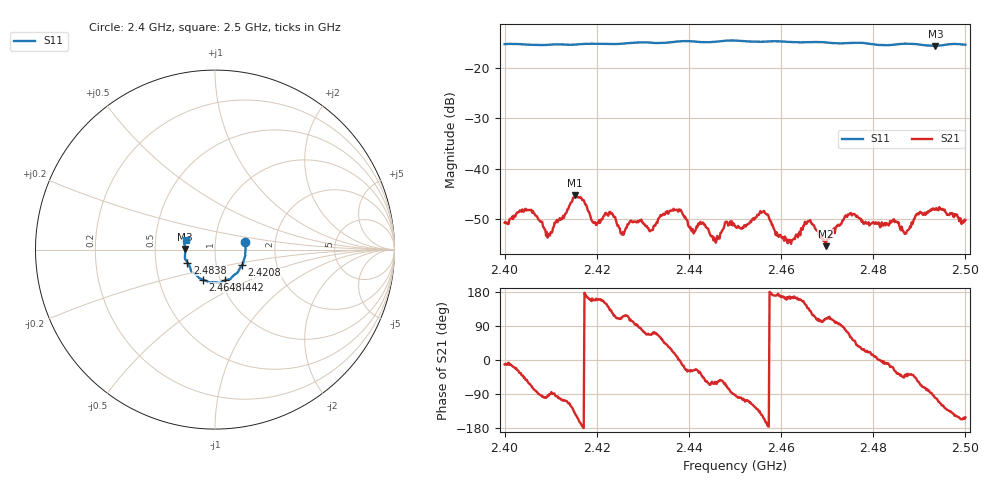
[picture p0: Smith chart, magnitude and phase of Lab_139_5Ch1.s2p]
# Hz S RI R 50
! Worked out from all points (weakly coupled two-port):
!   601 points, 2.4 GHz to 2.5 GHz, reference 50 ohm
!   highest |S21| = -45.31 dB at 2.4153 GHz (marker M1); lowest = -55.4 dB at 2.4697 GHz (marker M2)
!   lowest |S11| = -15.6 dB at 2.4935 GHz (marker M3), VSWR 1.40, Z = 35.8 + j0.223 ohm
!   |S11| at or under -10 dB: start of sweep to end of sweep
!   S12 and S22 are empty: the file has one direction only
!   S11 on the Smith chart (normalised r, x): 2.4 GHz: 1.40, +0.12; 2.4208 GHz: 1.33, -0.24; 2.4442 GHz: 1.05, -0.37; 2.4648 GHz: 0.83, -0.29; 2.4838 GHz: 0.73, -0.11; 2.5 GHz: 0.72, +0.08
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2.4e9  0.1676 0.0411  0.00284 -0.000581  0 0  0 0
2.405333e9  0.1705 0.0059  0.00178 -0.00344  0 0  0 0
2.409833e9  0.1687 -0.0267  -1.81e-05 -0.00216  0 0  0 0
2.415333e9  0.1607 -0.0589  -0.00434 -0.00325  0 0  0 0
2.416667e9  0.1591 -0.068  -0.005 -0.00078  0 0  0 0
2.420833e9  0.1504 -0.0872  -0.0028 0.00101  0 0  0 0
2.425667e9  0.1339 -0.1122  -0.000989 0.00212  0 0  0 0
2.433333e9  0.1079 -0.1402  0.00136 0.00287  0 0  0 0
2.437833e9  0.0886 -0.1615  0.00393 0.000117  0 0  0 0
2.444167e9  0.0566 -0.1713  0.00125 -0.0022  0 0  0 0
2.45e9  0.0245 -0.186  -0.00014 -0.00266  0 0  0 0
2.456e9  -0.0139 -0.1822  -0.00312 -0.00197  0 0  0 0
2.461833e9  -0.0461 -0.1758  -0.00184 0.000404  0 0  0 0
2.464833e9  -0.0683 -0.1669  -0.00247 0.00112  0 0  0 0
2.466667e9  -0.0799 -0.1629  -0.00148 0.00239  0 0  0 0
2.469667e9  -0.0917 -0.1545  -0.000565 0.00159  0 0  0 0
2.475e9  -0.1224 -0.1286  0.00178 0.00312  0 0  0 0
2.483333e9  -0.1506 -0.0761  0.00267 -0.000479  0 0  0 0
2.483833e9  -0.1534 -0.072  0.00277 -0.000831  0 0  0 0
2.487e9  -0.1665 -0.0525  0.00168 -0.00154  0 0  0 0
2.4935e9  -0.1661 0.00303  -0.000712 -0.00386  0 0  0 0
2.5e9  -0.1622 0.0529  -0.0027 -0.00146  0 0  0 0
